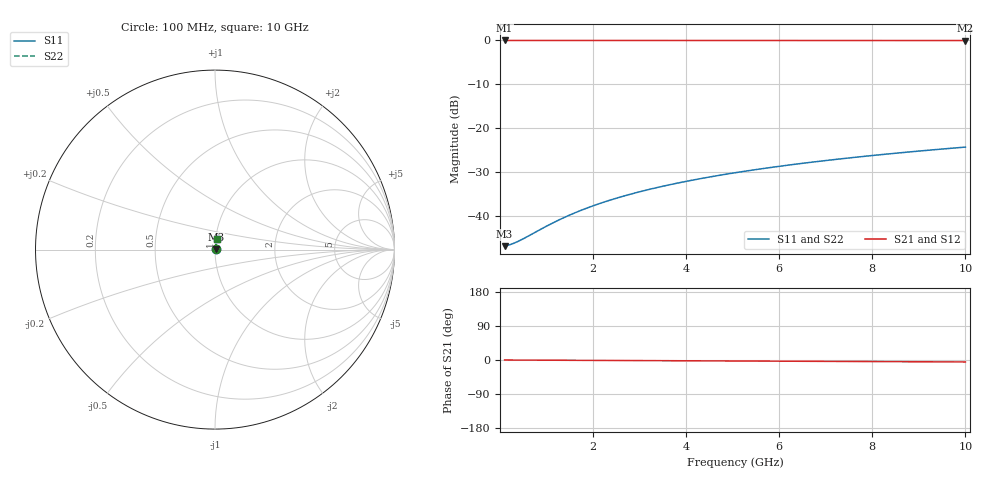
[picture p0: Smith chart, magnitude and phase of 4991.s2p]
# Hz S RI R 50.00
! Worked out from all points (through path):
!   100 points, 100 MHz to 10 GHz, reference 50 ohm
!   highest |S21| = -0.04 dB at 100 MHz (marker M1); lowest = -0.1 dB at 10 GHz (marker M2)
!   lowest |S11| = -47.0 dB at 100 MHz (marker M3), VSWR 1.01, Z = 50.4 + j0.0604 ohm
!   |S11| at or under -10 dB: start of sweep to end of sweep
!   |S22| runs from -47.0 to -24.4 dB; largest |S21 - S12| = 0
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1e8  0.00443 0.000598  0.9956 -0.0009  0.9956 -0.0009  0.00443 0.000598
2e8  0.00446 0.0012  0.9955 -0.0018  0.9955 -0.0018  0.00446 0.0012
3e8  0.00449 0.0018  0.9955 -0.0027  0.9955 -0.0027  0.00449 0.0018
4e8  0.00451 0.00239  0.9955 -0.0036  0.9955 -0.0036  0.00451 0.00239
6e8  0.00455 0.00359  0.9954 -0.0054  0.9954 -0.0054  0.00455 0.00359
1e9  0.00462 0.00598  0.9954 -0.009  0.9954 -0.009  0.00462 0.00598
1.2e9  0.00466 0.00718  0.9953 -0.0108  0.9953 -0.0108  0.00466 0.00718
1.5e9  0.00473 0.00897  0.9953 -0.0135  0.9953 -0.0135  0.00473 0.00897
1.8e9  0.0048 0.0108  0.9952 -0.0162  0.9952 -0.0162  0.0048 0.0108
2.1e9  0.00488 0.0126  0.9951 -0.0189  0.9951 -0.0189  0.00488 0.0126
2.5e9  0.005 0.0149  0.995 -0.0225  0.995 -0.0225  0.005 0.0149
2.9e9  0.00513 0.0173  0.9948 -0.0261  0.9948 -0.0261  0.00513 0.0173
3.4e9  0.00533 0.0203  0.9946 -0.0306  0.9946 -0.0306  0.00533 0.0203
3.8e9  0.0055 0.0227  0.9944 -0.0342  0.9944 -0.0342  0.0055 0.0227
4.2e9  0.00568 0.0251  0.9942 -0.0378  0.9942 -0.0378  0.00568 0.0251
4.6e9  0.00589 0.0275  0.994 -0.0414  0.994 -0.0414  0.00589 0.0275
5.1e9  0.00617 0.0305  0.9937 -0.0458  0.9937 -0.0458  0.00617 0.0305
5.9e9  0.00667 0.0352  0.9932 -0.053  0.9932 -0.053  0.00667 0.0352
6.7e9  0.00724 0.04  0.9925 -0.0602  0.9925 -0.0602  0.00724 0.04
7.5e9  0.00788 0.0447  0.9918 -0.0674  0.9918 -0.0674  0.00788 0.0447
8.4e9  0.00868 0.0501  0.991 -0.0754  0.991 -0.0754  0.00868 0.0501
1e10  0.0103 0.0595  0.9892 -0.0898  0.9892 -0.0898  0.0103 0.0595
